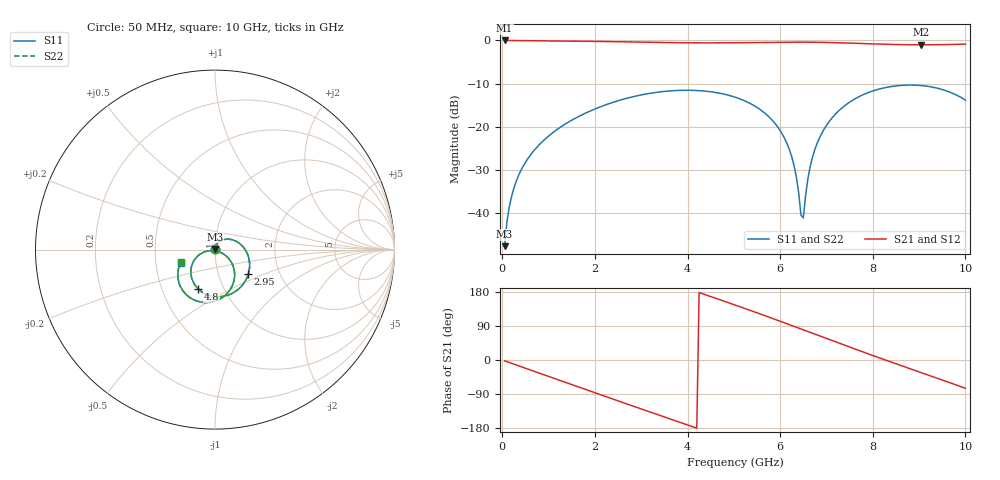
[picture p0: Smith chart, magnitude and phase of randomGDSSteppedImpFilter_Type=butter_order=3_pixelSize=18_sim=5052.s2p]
! freq	dB(S11)	phase(S11)	dB(S12)	phase(S12)
!  dB(S21)	phase(S21)	dB(S22)	phase(S22)
!S-par simulation data
#  GHz  S  DB  R 50
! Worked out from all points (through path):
!   200 points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, 50 MHz to 10 GHz, reference 50 ohm
!   highest |S21| = 0.00 dB at 50 MHz (marker M1); lowest = -1.0 dB at 9.05 GHz (marker M2)
!   group delay of S21, straight-line fit = 121 ps
!   lowest |S11| = -47.7 dB at 50 MHz (marker M3), VSWR 1.01, Z = 50 + j0.41 ohm
!   |S11| at or under -10 dB: start of sweep to end of sweep
!   |S22| runs from -47.7 to -10.3 dB; largest |S21 - S12| = 0
!   S11 on the Smith chart (normalised r, x): 50 MHz: 1.00, +0.01; 2.95 GHz: 1.39, -0.40; 4.8 GHz: 0.76, -0.35; 10 GHz: 0.67, -0.10
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0.05  -47.70 83.2  -0.00 -2.2  -0.00 -2.2  -47.69 83.1
0.1  -42.03 82.0  -0.01 -4.4  -0.01 -4.4  -42.03 81.9
0.2  -36.19 79.1  -0.02 -8.7  -0.02 -8.7  -36.19 79.1
0.5  -28.27 67.8  -0.04 -21.7  -0.04 -21.7  -28.27 67.9
1.75  -17.09 14.5  -0.17 -75.7  -0.17 -75.7  -17.09 14.7
2.35  -14.49 -11.1  -0.28 -101.5  -0.28 -101.5  -14.49 -10.9
2.95  -12.74 -36.5  -0.39 -127.1  -0.39 -127.1  -12.74 -36.4
3.4  -11.94 -55.5  -0.47 -146.1  -0.47 -146.1  -11.94 -55.4
4.1  -11.57 -84.6  -0.56 -175.6  -0.56 -175.6  -11.57 -84.5
4.8  -12.48 -113.4  -0.55 154.8  -0.55 154.8  -12.48 -113.4
5.05  -13.24 -123.7  -0.53 144.1  -0.53 144.1  -13.24 -123.8
6.05  -21.79 -163.7  -0.40 100.1  -0.40 100.1  -21.80 -164.2
6.3  -28.98 -168.1  -0.39 88.7  -0.39 88.7  -29.02 -169.3
6.45  -40.53 -132.6  -0.39 81.9  -0.39 81.9  -41.09 -135.3
6.5  -41.15 -71.0  -0.39 79.6  -0.39 79.6  -41.78 -68.7
6.6  -31.97 -30.6  -0.40 75.0  -0.40 75.0  -32.03 -29.0
6.7  -27.00 -27.5  -0.41 70.4  -0.41 70.4  -27.01 -26.6
6.95  -20.55 -33.7  -0.45 59.0  -0.45 59.0  -20.55 -33.4
7.3  -15.97 -47.5  -0.55 43.0  -0.55 43.0  -15.97 -47.4
8.35  -10.77 -91.3  -0.91 -3.4  -0.91 -3.4  -10.77 -91.4
9.05  -10.46 -120.0  -1.01 -33.3  -1.01 -33.3  -10.46 -120.2
10  -13.84 -159.3  -0.86 -74.7  -0.86 -74.7  -13.84 -159.7
